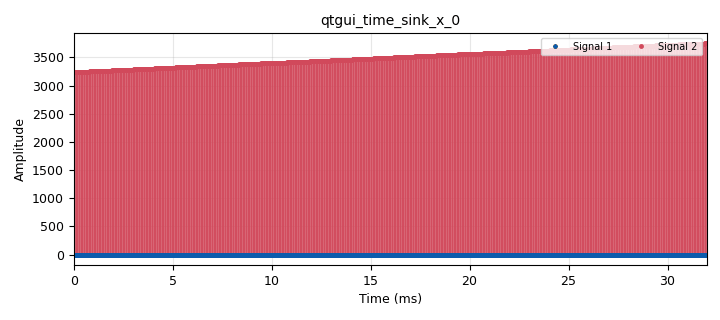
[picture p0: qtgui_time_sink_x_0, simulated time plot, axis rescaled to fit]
options:
  parameters:
    generate_options: qt_gui
    id: acum_diff
    output_language: python
    title: Not titled yet
  states: {}

blocks:
- name: samp_rate
  id: variable
  parameters:
    value: '32000'
  states: {}
- name: RMS
  id: qtgui_number_sink
  parameters:
    graph_type: qtgui.NUM_GRAPH_HORIZ
    name: RMS
    type: float
  states: {}
- name: analog_sig_source_x_0
  id: analog_sig_source_x
  parameters:
    amp: '1'
    freq: '1000'
    offset: '0'
    phase: '-1'
    samp_rate: samp_rate
    type: float
    waveform: analog.GR_TRI_WAVE
  states: {}
- name: blocks_throttle2_0
  id: blocks_throttle2
  parameters:
    samples_per_second: samp_rate
    type: float
  states: {}
- name: blocks_vector_source_x_0
  id: blocks_vector_source_x
  parameters:
    repeat: 'True'
    type: float
    vector: (2, -5, 3)
  states: {state: disabled}
- name: desviacion_estandar
  id: qtgui_number_sink
  parameters:
    graph_type: qtgui.NUM_GRAPH_HORIZ
    name: desviacion_estandar
    type: float
  states: {}
- name: epy_block_0
  id: epy_block
  parameters:
    _source_code: |
      """
      Embedded Python Blocks:

      Each time this file is saved, GRC will instantiate the first class it finds
      to get ports and parameters of your block. The arguments to __init__  will
      be the parameters. All of them are required to have default values!
      """

      import numpy as np
      from gnuradio import gr


      class blk(gr.sync_block):  # other base classes are basic_block, decim_block, interp_block
          """Embedded Python Block example - a simple multiply const"""

          def __init__ (self): # only default arguments here
              gr.sync_block.__init__(
                  self ,
                  name ="bloq_acum", # will show up in GRC
                  in_sig =[np.float32],
                  out_sig =[np.float32]
              )

          def work (self, input_items, output_items ):
              x = input_items[0] # Senial de entrada .
              y0 = output_items[0] # Senial acumulada

              X_LIMITED = x[:3]
              
              y0[:3] = np.cumsum(X_LIMITED)
              return len(y0)
  states: {}
- name: epy_block_1
  id: epy_block
  parameters:
    _source_code: |-
      import numpy as np
      from gnuradio import gr


      class blk(gr.sync_block):  # other base classes are basic_block, decim_block, interp_block
          """Embedded Python Block example - a simple multiply const"""

          def __init__ ( self ) : # only default arguments here
              gr. sync_block . __init__ (
                  self ,
                  name ="bloq_diff", # will show up in GRC
                  in_sig =[np.float32],
                  out_sig =[np.float32]
              )
              self.acum_anterior=0

          def work (self , input_items , output_items ):
              x = input_items[0] # Senial de entrada .
              y0 = output_items[0]#Senial acumulada diferencial

              X_LIMITED = x[:3]

              cumsum = np.cumsum(X_LIMITED)
          
              diff =np.cumsum(x) - self.acum_anterior
              self.acum_anterior = cumsum[-1] if len(cumsum) > 0 else 0
              
              y0[:len(diff)] = diff
              return len(output_items[0])
  states: {}
- name: epy_block_2
  id: epy_block
  parameters:
    _source_code: |-
      """
      Embedded Python Blocks:

      Each time this file is saved, GRC will instantiate the first class it finds
      to get ports and parameters of your block. The arguments to __init__  will
      be the parameters. All of them are required to have default values!
      """

      import numpy as np
      from gnuradio import gr


      class blk(gr.sync_block):  # other base classes are basic_block, decim_block, interp_block
          """Embedded Python Block example - a simple multiply const"""

          def __init__ (self) : # only default arguments here
              gr.sync_block.__init__(
                  self,
                  name ="Promedios_de_tiempos", # will show up in GRC
                  in_sig =[np.float32],
                  out_sig =[np.float32,np.float32,np.float32,np.float32,np.float32]
                  )
              self . acum_anterior = 0
              self . Ntotales = 0
              self . acum_anterior1 = 0
              self . acum_anterior2 = 0
              
          def work (self , input_items , output_items ):
              x = input_items[0] # Senial de entrada .
              y0 = output_items[0] # Promedio de la senial
              y1 = output_items[1] # Media de la senial
              y2 = output_items[2] # RMS de la senial
              y3 = output_items[3] # Potencia promedio de la senial
              y4 = output_items[4] # Desviacion estandar de la senial
              # Calculo del promedio
              N = len(x)
              self.Ntotales = self.Ntotales + N
              acumulado = self.acum_anterior + np.cumsum(x)
              self.acum_anterior = acumulado[N -1]
              y0[:]= acumulado/self.Ntotales
              # Calculo de la media cuadratica
              x2=np.multiply(x,x)
              acumulado1=self.acum_anterior1 + np.cumsum(x2)
              self.acum_anterior1 = acumulado[N -1]
              y1[:] = acumulado1/self.Ntotales
              # Calculo de la RMS
              y2[:] = np.sqrt(y1)
              # Calculo de la potencia promedio
              y3[:] = np.multiply(y2,y2)
              # Calculo de la desviacion estandar
              x3 = np.multiply(x-y0,x-y0)
              acumulado2 = self.acum_anterior2 + np.cumsum(x3)
              self.acum_anterior2 = acumulado2[N -1]
              y4[:] = np.sqrt(acumulado2/self.Ntotales)
              return len(x)
  states: {}
- name: media
  id: qtgui_number_sink
  parameters:
    graph_type: qtgui.NUM_GRAPH_HORIZ
    name: media
    type: float
  states: {}
- name: media_cuadratica
  id: qtgui_number_sink
  parameters:
    graph_type: qtgui.NUM_GRAPH_HORIZ
    name: media_cuadratica
    type: float
  states: {}
- name: potencia_promedio
  id: qtgui_number_sink
  parameters:
    graph_type: qtgui.NUM_GRAPH_HORIZ
    name: potencia_promedio
    type: float
  states: {}
- name: qtgui_time_sink_x_0
  id: qtgui_time_sink_x
  parameters:
    nconnections: '2'
    size: '1024'
    srate: 32E3
    stemplot: 'True'
    type: float
  states: {}

connections:
- [analog_sig_source_x_0, '0', blocks_throttle2_0, '0']
- [blocks_throttle2_0, '0', epy_block_0, '0']
- [blocks_throttle2_0, '0', epy_block_1, '0']
- [blocks_throttle2_0, '0', epy_block_2, '0']
- [epy_block_0, '0', qtgui_time_sink_x_0, '0']
- [epy_block_1, '0', qtgui_time_sink_x_0, '1']
- [epy_block_2, '0', media, '0']
- [epy_block_2, '1', media_cuadratica, '0']
- [epy_block_2, '2', RMS, '0']
- [epy_block_2, '3', potencia_promedio, '0']
- [epy_block_2, '4', desviacion_estandar, '0']

metadata:
  file_format: 1
  grc_version: v3.10.11.0-89-ga17f69e7
